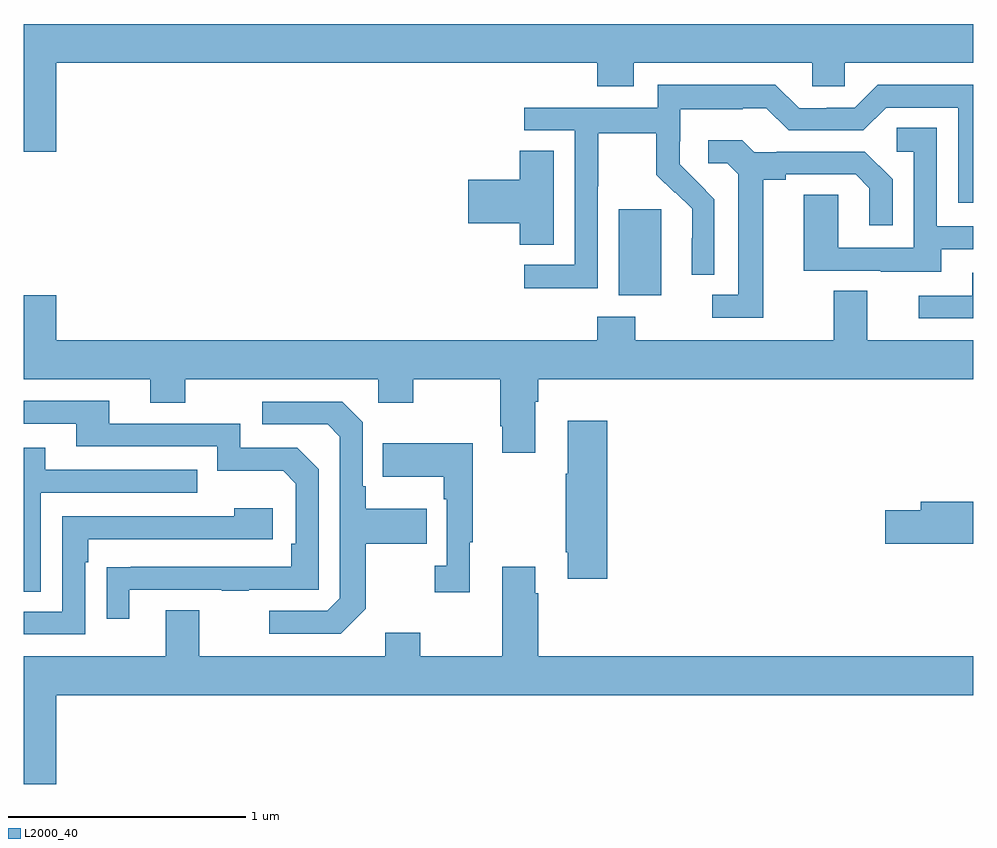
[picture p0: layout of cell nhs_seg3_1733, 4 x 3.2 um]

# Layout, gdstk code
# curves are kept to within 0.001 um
import gdstk
lib = gdstk.Library(unit=1e-6, precision=1e-09)
def R(c, l, rs):  # rectangles x0, y0, x1, y1
    for r in rs: c.add(gdstk.rectangle(r[:2], r[2:], *l))
def P(c, l, *ps):  # polygons
    for p in ps: c.add(gdstk.Polygon(p, *l))
L2000_40 = (2000, 40)

nhs_seg3_1733 = lib.new_cell('nhs_seg3_1733')
R(nhs_seg3_1733, L2000_40, [(203.507,678.626,203.686,678.987)])
P(nhs_seg3_1733, L2000_40, [(201.136,679.604),(203.417,679.604),(203.417,679.505),(203.569,679.505),(203.569,679.604),(204.321,679.604),(204.321,679.506),(204.459,679.506),(204.459,679.604),(205,679.604),(205,679.768),(201,679.768),(201,679.23),(201.136,679.23)],
  [(203.418,679.084),(203.421,679.084),(203.421,679.308),(203.665,679.308),(203.665,679.133),(203.742,679.056),(203.745,679.059),(203.816,678.989),(203.816,678.866),(203.814,678.866),(203.814,678.712),(203.91,678.712),(203.91,679.03),(203.764,679.178),(203.764,679.275),(203.766,679.275),(203.766,679.409),(204.029,679.409),(204.029,679.413),(204.129,679.413),(204.222,679.32),(204.537,679.32),(204.633,679.416),(204.936,679.416),(204.936,679.014),(205,679.014),(205,679.512),(204.597,679.512),(204.501,679.416),(204.383,679.416),(204.383,679.413),(204.267,679.413),(204.167,679.513),(203.67,679.513),(203.67,679.416),(203.109,679.416),(203.109,679.32),(203.322,679.32),(203.322,678.753),(203.109,678.753),(203.109,678.655),(203.418,678.655)],
  [(204.865,678.819),(205,678.819),(205,678.915),(204.846,678.915),(204.846,679.331),(204.678,679.331),(204.678,679.23),(204.75,679.23),(204.75,678.825),(204.432,678.825),(204.432,679.049),(204.287,679.049),(204.287,678.729),(204.611,678.729),(204.611,678.725),(204.865,678.725)],
  [(204.115,679.112),(204.211,679.112),(204.211,679.134),(204.506,679.134),(204.563,679.077),(204.563,678.921),(204.66,678.921),(204.66,679.114),(204.544,679.23),(204.172,679.23),(204.172,679.227),(204.078,679.227),(204.026,679.279),(203.883,679.279),(203.883,679.182),(203.964,679.182),(204.011,679.135),(204.011,678.627),(203.901,678.627),(203.901,678.531),(204.115,678.531)],
  [(203.233,679.235),(203.09,679.235),(203.09,679.112),(202.872,679.112),(202.872,678.929),(203.09,678.929),(203.09,678.838),(203.233,678.838)],
  [(205,678.72),(204.995,678.72),(204.995,678.624),(204.771,678.624),(204.771,678.528),(205,678.528)],
  [(203.155,678.176),(203.168,678.176),(203.168,678.272),(205,678.272),(205,678.436),(204.553,678.436),(204.553,678.644),(204.413,678.644),(204.413,678.436),(203.577,678.436),(203.577,678.535),(203.417,678.535),(203.417,678.436),(201.136,678.436),(201.136,678.625),(201,678.625),(201,678.272),(201.533,678.272),(201.533,678.173),(201.681,678.173),(201.681,678.272),(202.494,678.272),(202.494,678.173),(202.641,678.173),(202.641,678.272),(203.008,678.272),(203.008,678.073),(203.015,678.073),(203.015,677.961),(203.155,677.961)],
  [(201.445,677.385),(201.835,677.385),(201.835,677.38),(201.947,677.38),(201.947,677.385),(202.242,677.385),(202.242,677.892),(202.152,677.982),(201.912,677.982),(201.912,678.084),(201.361,678.084),(201.361,678.18),(201,678.18),(201,678.084),(201.221,678.084),(201.221,677.988),(201.816,677.988),(201.816,677.885),(202.093,677.885),(202.146,677.832),(202.146,677.578),(202.126,677.578),(202.126,677.481),(201.349,677.48),(201.349,677.262),(201.445,677.262)],
  [(202.441,677.305),(202.441,677.578),(202.697,677.578),(202.697,677.725),(202.441,677.725),(202.441,677.821),(202.428,677.821),(202.428,678.09),(202.341,678.177),(202.005,678.177),(202.005,678.081),(202.281,678.081),(202.332,678.03),(202.332,677.349),(202.278,677.295),(202.035,677.295),(202.035,677.199),(202.335,677.199)],
  [(203.459,678.097),(203.291,678.097),(203.291,677.873),(203.284,677.873),(203.284,677.542),(203.291,677.542),(203.291,677.43),(203.459,677.43)],
  [(202.879,677.585),(202.891,677.585),(202.891,678.001),(202.513,678.001),(202.513,677.861),(202.77,677.861),(202.77,677.765),(202.782,677.765),(202.782,677.486),(202.731,677.486),(202.731,677.373),(202.879,677.373)],
  [(201.072,677.793),(201.731,677.793),(201.731,677.889),(201.091,677.889),(201.091,677.983),(201,677.983),(201,677.377),(201.072,677.377)],
  [(205,677.756),(204.779,677.756),(204.779,677.72),(204.63,677.72),(204.63,677.578),(205,677.578)],
  [(201.258,677.501),(201.271,677.501),(201.271,677.598),(202.048,677.598),(202.048,677.728),(201.887,677.728),(201.887,677.694),(201.162,677.694),(201.162,677.292),(201,677.292),(201,677.196),(201.258,677.196)],
  [(201,676.566),(201.136,676.566),(201.136,676.94),(205,676.94),(205,677.104),(203.168,677.104),(203.168,677.369),(203.155,677.369),(203.155,677.482),(203.015,677.482),(203.015,677.104),(202.671,677.104),(202.671,677.203),(202.523,677.203),(202.523,677.104),(201.739,677.104),(201.739,677.299),(201.599,677.299),(201.599,677.104),(201,677.104)])

lib.write_gds('nhs_seg3_1733.gds')
